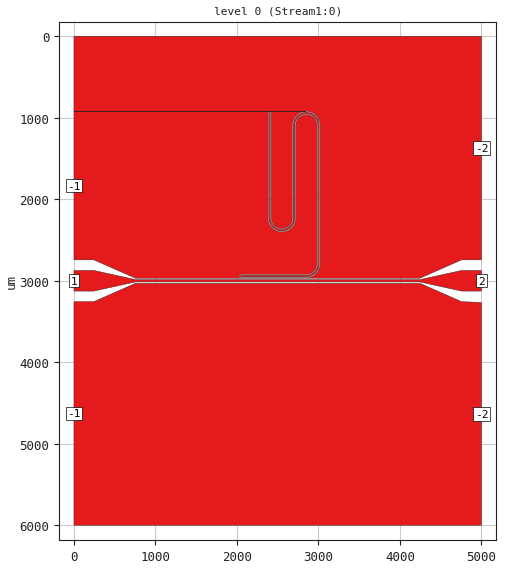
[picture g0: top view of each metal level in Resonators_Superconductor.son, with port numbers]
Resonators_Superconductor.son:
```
FTYP SONPROJ 12 ! Sonnet Project File
VER 14.52
HEADER
LIC Sonn.1.12345
DAT 05/14/2020 09:20:18
BUILT_BY_CREATED gds 14.52 05/14/2020 05:50:22
BUILT_BY_SAVED xgeom 14.52
MDATE 05/14/2020 09:20:18
HDATE 05/14/2020 09:20:18
END HEADER
DIM
FREQ GHZ
IND NH
LNG UM
ANG DEG
CON /OH
CAP PF
RES OH
END DIM
FREQ
SIMPLE 4.0
ABS 4.0 4.0 
END FREQ
CONTROL
ABS
OPTIONS  -dj 
SPEED 2
CACHE_ABS 1
TARG_ABS 300
Q_ACC N
END CONTROL
GEO
TMET "Free Space" 0 FREESPACE 376.7303136 0 0 0
BMET "Free Space" 0 FREESPACE 376.7303136 0 0 0
MET "NbN" 4 SUP 0 3.924e-26 0 6
BOX 1 5000 6000 2000 2400 20 0
      1000 1 1 0 0 0 0 "Air"
      500 11.9 1 1e-07 0 4.4e-08 0 "Silicon (intrinsic)"
TECHLAY METAL Stream1:0 <UNSPECIFIED> 1 0 
0 0 -1 N 0 1 1 100 100 0 0 0 Y
END
END
LORGN 0 6000 U 
POR1 STD
POLY 11 1
0
-1 50 0 0 0 1 4627.5 
POR1 STD
POLY 11 1
6
-2 50 0 0 0 5000 4632.5 
POR1 STD
POLY 12 1
0
1 50 0 0 0 1 2999.5 
POR1 STD
POLY 12 1
6
2 50 0 0 0 5000 2999.5 
POR1 STD
POLY 13 1
2
-1 50 0 0 0 1 1832 
POR1 STD
POLY 13 1
357
-2 50 0 0 0 5000 1371.5 
NUM 3
0 9 0 N 11 1 1 100 100 0 0 0 Y
TLAYNAM Stream1:0 INH
1 5999
1 3256
245 3256
755 3031
4246 3031
4756 3256
5000 3266
5000 5999
1 5999
END
0 13 0 N 12 1 1 100 100 0 0 0 Y
TLAYNAM Stream1:0 INH
1 3126
1 2873
245 2873
755 2985
4246 2985
4756 2873
5000 2873
5000 3126
4756 3126
4246 3014
755 3014
245 3126
1 3126
END
0 362 0 N 13 1 1 100 100 0 0 0 Y
TLAYNAM Stream1:0 INH
755 2968
245 2743
1 2743
1 921
2842 921
2825 923
2809 926
2793 931
2777 937
2762 945
2749 954
2736 965
2724 977
2713 990
2704 1003
2696 1018
2690 1034
2685 1050
2682 1066
2680 1083
2680 2236
2679 2249
2676 2261
2673 2274
2668 2285
2662 2296
2655 2307
2647 2317
2638 2326
2628 2334
2617 2341
2606 2347
2595 2352
2582 2355
2570 2358
2557 2359
2545 2359
2532 2358
2520 2355
2507 2352
2496 2347
2485 2341
2474 2334
2464 2326
2455 2317
2447 2307
2440 2296
2434 2285
2429 2274
2426 2261
2423 2249
2422 2236
2422 928
2421 927
2411 927
2411 2237
2412 2251
2415 2264
2419 2277
2424 2290
2431 2302
2438 2313
2447 2324
2457 2334
2468 2343
2479 2350
2491 2357
2504 2362
2517 2366
2530 2369
2544 2370
2558 2370
2572 2369
2585 2366
2598 2362
2611 2357
2623 2350
2634 2343
2645 2334
2655 2324
2664 2313
2671 2302
2678 2290
2683 2277
2687 2264
2690 2251
2691 2237
2691 1084
2693 1068
2696 1053
2700 1038
2706 1024
2714 1010
2722 997
2732 984
2743 973
2756 963
2769 955
2783 947
2797 941
2812 937
2827 934
2843 932
2859 932
2875 934
2890 937
2905 941
2919 947
2933 955
2946 963
2959 973
2970 984
2980 997
2988 1010
2996 1024
3002 1038
3006 1053
3009 1068
3011 1084
3011 2800
3009 2816
3006 2831
3002 2846
2996 2860
2988 2874
2980 2887
2970 2900
2959 2911
2946 2921
2933 2929
2919 2937
2905 2943
2890 2947
2875 2950
2859 2952
2049 2952
2048 2951
2046 2951
2042 2947
2042 2945
2041 2944
2041 2940
2042 2939
2042 2937
2046 2933
2048 2933
2049 2932
2858 2932
2872 2931
2885 2928
2898 2924
2911 2919
2923 2912
2934 2905
2945 2896
2955 2886
2964 2875
2971 2864
2978 2852
2983 2839
2987 2826
2990 2813
2991 2799
2991 1085
2990 1071
2987 1058
2983 1045
2978 1032
2971 1020
2964 1009
2955 998
2945 988
2934 979
2923 972
2911 965
2898 960
2885 956
2872 953
2858 952
2844 952
2830 953
2817 956
2804 960
2791 965
2779 972
2768 979
2757 988
2747 998
2738 1009
2731 1020
2724 1032
2719 1045
2715 1058
2712 1071
2711 1085
2711 2238
2709 2254
2706 2269
2702 2284
2696 2298
2688 2312
2680 2325
2670 2338
2659 2349
2646 2359
2633 2367
2619 2375
2605 2381
2590 2385
2575 2388
2559 2390
2543 2390
2527 2388
2512 2385
2497 2381
2483 2375
2469 2367
2456 2359
2443 2349
2432 2338
2422 2325
2414 2312
2406 2298
2400 2284
2396 2269
2393 2254
2391 2238
2391 927
2380 927
2380 2239
2382 2256
2385 2272
2390 2288
2396 2304
2404 2319
2413 2332
2424 2345
2436 2357
2449 2368
2462 2377
2477 2385
2493 2391
2509 2396
2525 2399
2542 2401
2560 2401
2577 2399
2593 2396
2609 2391
2625 2385
2640 2377
2653 2368
2666 2357
2678 2345
2689 2332
2698 2319
2706 2304
2712 2288
2717 2272
2720 2256
2722 2239
2722 1086
2723 1073
2726 1061
2729 1048
2734 1037
2740 1026
2747 1015
2755 1005
2764 996
2774 988
2785 981
2796 975
2807 970
2820 967
2832 964
2845 963
2857 963
2870 964
2882 967
2895 970
2906 975
2917 981
2928 988
2938 996
2947 1005
2955 1015
2962 1026
2968 1037
2973 1048
2976 1061
2979 1073
2980 1086
2980 2797
2979 2810
2976 2823
2973 2835
2968 2847
2962 2858
2955 2869
2928 2896
2917 2903
2906 2909
2894 2914
2882 2917
2869 2920
2856 2921
2048 2921
2046 2922
2044 2922
2038 2925
2034 2929
2031 2935
2031 2937
2030 2939
2030 2945
2031 2947
2031 2949
2034 2955
2038 2959
2044 2962
2046 2962
2048 2963
2860 2963
2877 2961
2893 2958
2909 2953
2925 2947
2940 2939
2953 2930
2966 2919
2978 2907
2989 2894
2998 2881
3006 2866
3012 2850
3017 2834
3020 2818
3022 2801
3022 1083
3020 1066
3017 1050
3012 1034
3006 1018
2998 1003
2989 990
2978 977
2966 965
2953 954
2940 945
2925 937
2909 931
2893 926
2877 923
2860 921
1 921
1 0
5000 0
5000 2743
4756 2743
4246 2968
755 2968
END
END GEO
OPT
MAX 100
VARS
END
END OPT
VARSWP
END VARSWP
QSG
IMPORT YES
EXTRA_METAL NO
UNITS YES
ALIGN NO
REF NO
VIEW_RES NO
METALS NO
USED YES
END QSG
```
